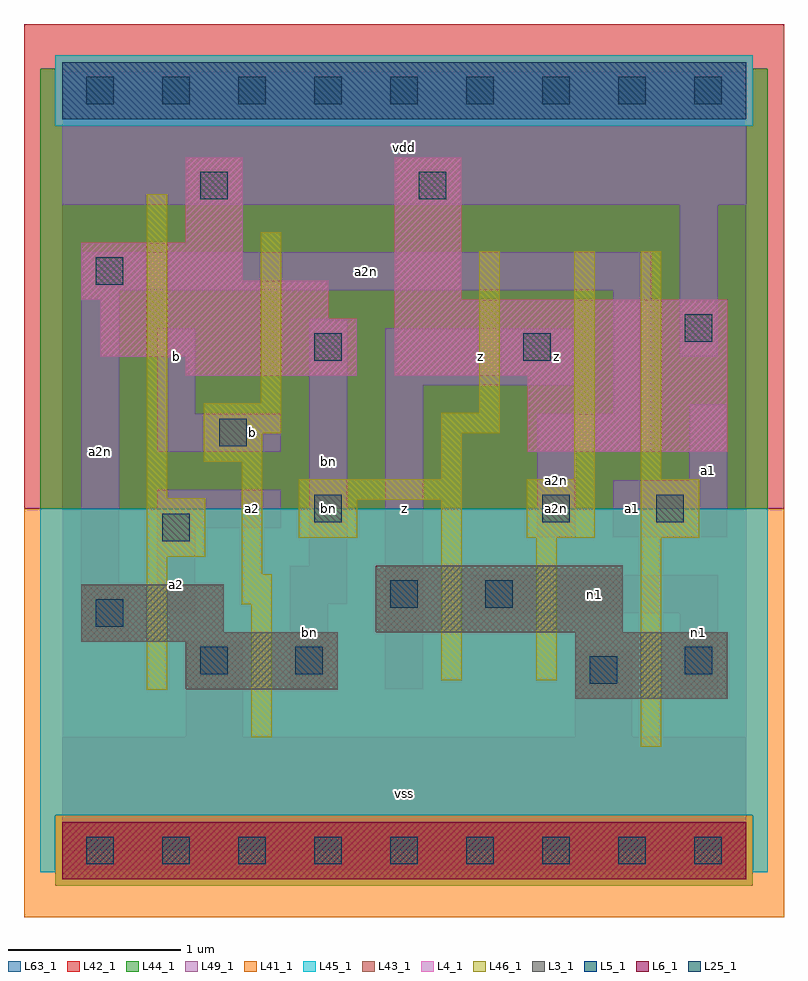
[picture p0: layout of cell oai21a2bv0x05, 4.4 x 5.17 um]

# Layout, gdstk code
import gdstk
lib = gdstk.Library(unit=1e-6, precision=1e-09)
def R(c, l, rs):  # rectangles x0, y0, x1, y1
    for r in rs: c.add(gdstk.rectangle(r[:2], r[2:], *l))
def A(c, l, x, y, w, h, nx, ny, dx, dy):  # array of equal rectangles
    R(c, l, [(x+i*dx, y+j*dy, x+i*dx+w, y+j*dy+h) for i in range(nx) for j in range(ny)])
L3_1 = (3, 1)
L4_1 = (4, 1)
L5_1 = (5, 1)
L6_1 = (6, 1)
L25_1 = (25, 1)
L41_1 = (41, 1)
L42_1 = (42, 1)
L43_1 = (43, 1)
L44_1 = (44, 1)
L45_1 = (45, 1)
L46_1 = (46, 1)
L49_1 = (49, 1)
L63_1 = (63, 1)

oai21a2bv0x05 = lib.new_cell('oai21a2bv0x05')
R(oai21a2bv0x05, L3_1, [(2.97,0.88,3.85,1.265), (0.715,0.935,1.595,1.21), (0.11,1.21,1.595,1.265), (0.11,1.265,0.935,1.54), (1.815,1.265,3.245,1.65)])
R(oai21a2bv0x05, L4_1, [(2.695,2.31,3.85,2.75), (0.715,2.75,1.705,2.86), (1.925,2.75,3.85,3.19), (0.22,2.86,1.705,3.08), (0.22,3.08,1.54,3.19), (0.11,3.19,1.54,3.3), (1.925,3.19,2.31,4.015), (0.11,3.3,1.045,3.52), (0.715,3.52,1.045,4.015)])
R(oai21a2bv0x05, L5_1, [(0,4.235,3.96,4.565)])
R(oai21a2bv0x05, L6_1, [(0,-0.165,3.96,0.165)])
A(oai21a2bv0x05, L25_1, 0.14, -0.08, 0.16, 0.16, 9, 2, 0.44, 4.4)
R(oai21a2bv0x05, L25_1, [(3.055,0.965,3.215,1.125), (0.8,1.02,0.96,1.18), (1.35,1.02,1.51,1.18), (3.605,1.02,3.765,1.18), (0.195,1.295,0.355,1.455), (1.9,1.405,2.06,1.565), (2.45,1.405,2.61,1.565), (0.58,1.79,0.74,1.95), (1.46,1.9,1.62,2.06), (2.78,1.9,2.94,2.06), (3.44,1.9,3.6,2.06), (0.91,2.34,1.07,2.5), (1.46,2.835,1.62,2.995), (2.67,2.835,2.83,2.995), (3.605,2.945,3.765,3.105), (0.195,3.275,0.355,3.435), (0.8,3.77,0.96,3.93), (2.065,3.77,2.225,3.93)])
R(oai21a2bv0x05, L41_1, [(-0.22,-0.385,4.18,1.98)])
R(oai21a2bv0x05, L42_1, [(-0.22,1.98,4.18,4.785)])
R(oai21a2bv0x05, L43_1, [(0,-0.165,3.96,0.165), (2.97,0.88,3.85,1.265), (0.715,0.935,1.595,1.21), (0.11,1.21,1.595,1.265), (0.11,1.265,0.935,1.54), (1.815,1.265,3.245,1.65), (2.695,2.31,3.85,2.75), (0.715,2.75,1.705,2.86), (1.925,2.75,3.85,3.19), (0.22,2.86,1.705,3.08), (0.22,3.08,1.54,3.19), (0.11,3.19,1.54,3.3), (1.925,3.19,2.31,4.015), (0.11,3.3,1.045,3.52), (0.715,3.52,1.045,4.015), (0,4.235,3.96,4.565)])
R(oai21a2bv0x05, L44_1, [(-0.04,-0.205,4,0.205), (-0.125,1.98,4.085,4.195), (-0.125,4.195,-0.04,4.525), (4,4.195,4.085,4.525)])
R(oai21a2bv0x05, L45_1, [(-0.125,-0.125,-0.04,0.205), (4,-0.125,4.085,0.205), (-0.125,0.205,4.085,1.98), (-0.04,4.195,4,4.605)])
R(oai21a2bv0x05, L46_1, [(3.35,0.6,3.47,1.81), (1.095,0.655,1.215,1.425), (0.49,0.93,0.61,1.7), (2.195,0.985,2.315,2.03), (2.745,0.985,2.865,1.81), (1.04,1.425,1.215,1.6), (1.04,1.6,1.16,2.25), (0.49,1.7,0.83,2.04), (1.37,1.81,1.71,2.03), (2.69,1.81,3.085,2.15), (3.35,1.81,3.69,2.15), (1.37,2.03,2.315,2.15), (0.49,2.04,0.61,3.8), (2.195,2.15,2.315,2.415), (2.965,2.15,3.085,3.47), (3.35,2.15,3.47,3.47), (0.82,2.25,1.16,2.415), (0.82,2.415,1.27,2.59), (2.195,2.415,2.535,2.535), (2.415,2.535,2.535,3.47), (1.15,2.59,1.27,3.58)])
R(oai21a2bv0x05, L49_1, [(0,-0.11,3.96,0.66), (0.715,0.66,1.045,1.21), (2.97,0.66,3.3,1.155), (1.32,0.935,1.54,1.43), (1.87,0.935,2.09,2.695), (3.575,0.935,3.795,1.375), (0.11,1.21,0.385,1.54), (0.55,1.375,0.77,1.87), (2.365,1.375,3.795,1.595), (1.32,1.43,1.65,1.65), (0.11,1.54,0.33,3.245), (1.43,1.65,1.65,3.08), (2.75,1.815,2.97,2.31), (3.19,1.815,3.85,2.145), (0.55,1.87,1.265,2.09), (3.63,2.145,3.85,2.585), (0.55,2.31,1.265,2.53), (2.75,2.31,3.41,2.53), (0.55,2.53,0.77,3.025), (3.19,2.53,3.41,3.245), (1.87,2.695,2.97,3.025), (3.575,2.86,3.795,3.74), (0.11,3.245,3.41,3.465), (0,3.74,3.96,4.51)])
R(oai21a2bv0x05, L63_1, [(0,0,3.96,4.4)])
oai21a2bv0x05.add(gdstk.Label('bn', (1.54,1.98), layer=49, texttype=1))
oai21a2bv0x05.add(gdstk.Label('a2n', (2.86,1.98), layer=49, texttype=1))
oai21a2bv0x05.add(gdstk.Label('a2n', (0.22,2.31), layer=49, texttype=1))
oai21a2bv0x05.add(gdstk.Label('a2', (0.66,1.54), layer=49, texttype=1))
oai21a2bv0x05.add(gdstk.Label('b', (1.1,2.42), layer=49, texttype=1))
oai21a2bv0x05.add(gdstk.Label('a2', (1.1,1.98), layer=49, texttype=1))
oai21a2bv0x05.add(gdstk.Label('b', (0.66,2.86), layer=49, texttype=1))
oai21a2bv0x05.add(gdstk.Label('vss', (1.98,0.33), layer=49, texttype=1))
oai21a2bv0x05.add(gdstk.Label('bn', (1.43,1.265), layer=49, texttype=1))
oai21a2bv0x05.add(gdstk.Label('z', (1.98,1.98), layer=49, texttype=1))
oai21a2bv0x05.add(gdstk.Label('bn', (1.54,2.255), layer=49, texttype=1))
oai21a2bv0x05.add(gdstk.Label('vdd', (1.98,4.07), layer=49, texttype=1))
oai21a2bv0x05.add(gdstk.Label('a2n', (2.86,2.145), layer=49, texttype=1))
oai21a2bv0x05.add(gdstk.Label('z', (2.86,2.86), layer=49, texttype=1))
oai21a2bv0x05.add(gdstk.Label('z', (2.42,2.86), layer=49, texttype=1))
oai21a2bv0x05.add(gdstk.Label('n1', (3.08,1.485), layer=49, texttype=1))
oai21a2bv0x05.add(gdstk.Label('n1', (3.685,1.265), layer=49, texttype=1))
oai21a2bv0x05.add(gdstk.Label('a1', (3.3,1.98), layer=49, texttype=1))
oai21a2bv0x05.add(gdstk.Label('a1', (3.74,2.2), layer=49, texttype=1))
oai21a2bv0x05.add(gdstk.Label('a2n', (1.76,3.355), layer=49, texttype=1))

lib.write_gds('oai21a2bv0x05.gds')
